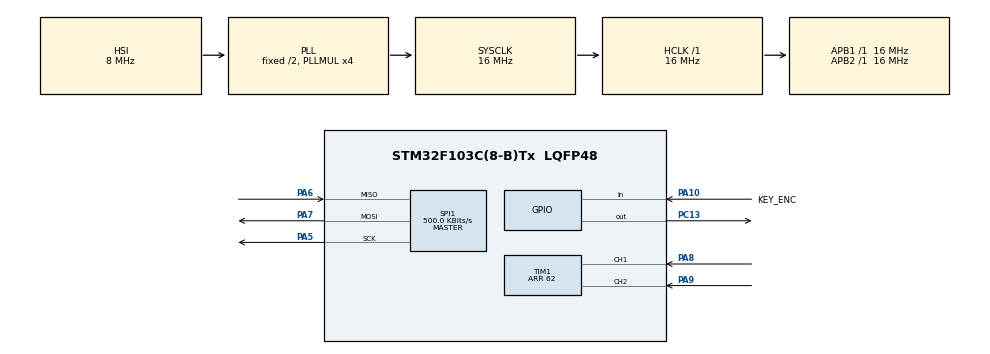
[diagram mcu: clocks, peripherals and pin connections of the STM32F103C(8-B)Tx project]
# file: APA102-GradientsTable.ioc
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Mcu.Family=STM32F1
Mcu.Name=STM32F103C(8-B)Tx
Mcu.Package=LQFP48
NVIC.PriorityGroup=NVIC_PRIORITYGROUP_4
PA10.GPIO_Label=KEY_ENC
PA10.GPIO_Mode=GPIO_MODE_INPUT
PA10.GPIO_PuPd=GPIO_NOPULL
PA10.Signal=GPIO_Input
PA13.Mode=Trace_Asynchronous_SW
PA13.Signal=SYS_JTMS-SWDIO
PA14.Mode=Trace_Asynchronous_SW
PA14.Signal=SYS_JTCK-SWCLK
PA5.Mode=Full_Duplex_Master
PA5.Signal=SPI1_SCK
PA6.Mode=Full_Duplex_Master
PA6.Signal=SPI1_MISO
PA7.Mode=Full_Duplex_Master
PA7.Signal=SPI1_MOSI
PA8.Signal=S_TIM1_CH1
PA9.Signal=S_TIM1_CH2
PB3.Mode=Trace_Asynchronous_SW
PB3.Signal=SYS_JTDO-TRACESWO
PC13-TAMPER-RTC.Signal=GPIO_Output
ProjectManager.HeapSize=0x200
ProjectManager.StackSize=0x400
ProjectManager.TargetToolchain=STM32CubeIDE
RCC.AHBFreq_Value=16000000
RCC.APB1Freq_Value=16000000
RCC.APB1TimFreq_Value=16000000
RCC.APB2Freq_Value=16000000
RCC.APB2TimFreq_Value=16000000
RCC.HCLKFreq_Value=16000000
RCC.PLLMUL=RCC_PLL_MUL4
RCC.RTCClockSelection=RCC_RTCCLKSOURCE_LSE
RCC.SYSCLKFreq_VALUE=16000000
RCC.SYSCLKSource=RCC_SYSCLKSOURCE_PLLCLK
RCC.USBFreq_Value=16000000
SH.S_TIM1_CH1.0=TIM1_CH1,Encoder_Interface
SH.S_TIM1_CH2.0=TIM1_CH2,Encoder_Interface
SPI1.BaudRatePrescaler=SPI_BAUDRATEPRESCALER_32
SPI1.CalculateBaudRate=500.0 KBits/s
SPI1.Direction=SPI_DIRECTION_2LINES
SPI1.Mode=SPI_MODE_MASTER
SPI1.VirtualType=VM_MASTER
TIM1.CounterMode=TIM_COUNTERMODE_CENTERALIGNED3
TIM1.EncoderMode=TIM_ENCODERMODE_TI1
TIM1.IC1Filter=15
TIM1.IC2Filter=15
TIM1.Period=62
TIM1.TIM_MasterOutputTrigger=TIM_TRGO_RESET
TIM1.TIM_MasterSlaveMode=TIM_MASTERSLAVEMODE_DISABLE
board=custom

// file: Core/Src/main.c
/* USER CODE BEGIN Header */
/**
 ******************************************************************************
 * @file           : main.c
 * @brief          : Main program body
 ******************************************************************************
 * @attention
 *
 * <h2><center>&copy; Copyright (c) 2020 STMicroelectronics.
 * All rights reserved.</center></h2>
 *
 * This software component is licensed by ST under BSD 3-Clause license,
 * the "License"; You may not use this file except in compliance with the
 * License. You may obtain a copy of the License at:
 *                        opensource.org/licenses/BSD-3-Clause
 *
 ******************************************************************************
 */
/* USER CODE END Header */
#include "main.h"

/* USER CODE BEGIN Includes */
#include "DigiLed.h"
#include "perlin.h"
#include "stdio.h"
#include "string.h"

#include "gradients.h"
#include "colors.h"

/* USER CODE END Includes */

SPI_HandleTypeDef hspi1;

TIM_HandleTypeDef htim1;

/* USER CODE BEGIN PV */
uint8_t brightOver = FALSE;
char trans_str[64] = {0,};

/* USER CODE END PV */

void SystemClock_Config(void);
static void MX_GPIO_Init(void);
static void MX_SPI1_Init(void);
static void MX_TIM1_Init(void);

/* USER CODE BEGIN 0 */
int _write(int file, char *ptr, int len) {
	int i=0;
	for (i=0; i<len; i++)
		ITM_SendChar((*ptr++));
	return len;
}
/* USER CODE END 0 */

int main(void)
{
	/* USER CODE BEGIN 1 */

	uint32_t changeTimer, transitionTimer;
	float transitionValue = 0;

	uint8_t brightness = 0;
	float yPos = 0;
	uint8_t noise;
	float noise_f;

	uint8_t short_state = 0;
	uint8_t long_state = 0;
	uint32_t time_keyEnc = 0;
	/* USER CODE END 1 */

	/* MCU Configuration--------------------------------------------------------*/

	/* Reset of all peripherals, Initializes the Flash interface and the Systick. */
	HAL_Init();

	/* USER CODE BEGIN Init */
	gammaInit(1.8);

	/* USER CODE END Init */

	/* Configure the system clock */
	SystemClock_Config();

	/* Initialize all configured peripherals */
	MX_GPIO_Init();
	MX_SPI1_Init();
	MX_TIM1_Init();
	/* USER CODE BEGIN 2 */
	HAL_TIM_Encoder_Start(&htim1, TIM_CHANNEL_1);
	__HAL_TIM_SetCounter(&htim1,31); // TODO: Load from EEPROM
	/* APA102 */
	DigiLed_init(&hspi1);

	/* USER CODE END 2 */

	/* Infinite loop */
	/* USER CODE BEGIN WHILE */
	printf("Hi\n");
	HAL_Delay(500);

	while (1)
	{
		/**
		 * Encoder Handler
		 */
		if (brightness != TIM1->CNT/2) {
			brightness = TIM1->CNT/2;
			if (brightness >= 0x1f) {
				/* BLINK */
				DigiLed_setAllRGB(0xffffff);
				DigiLed_update(FALSE);
				HAL_Delay(20);
				brightness = 0x1f;
			}
			printf("Illumination: %d", brightness);
		}

		/* Button handler
		 * src: https://istarik.ru/blog/stm32/148.html */
		uint32_t ms = HAL_GetTick();
		uint8_t keyEnc_state = HAL_GPIO_ReadPin(KEY_ENC_GPIO_Port, KEY_ENC_Pin);
		if(keyEnc_state == 0 && !short_state && (ms - time_keyEnc) > 50) {
			short_state = 1;
			long_state = 0;
			time_keyEnc = ms;
		} else if(keyEnc_state == 0 && !long_state && (ms - time_keyEnc) > 1000) {
			long_state = 1;
			// действие на длинное нажатие
			DigiLed_setAllRGB(0xff0000); DigiLed_update(FALSE); HAL_Delay(200);
			DigiLed_setAllRGB(0x00ff00); DigiLed_update(FALSE); HAL_Delay(200);
			DigiLed_setAllRGB(0x0000ff); DigiLed_update(FALSE); HAL_Delay(200);
			DigiLed_setAllRGB(0x000000); DigiLed_update(FALSE); HAL_Delay(200);
		} else if(keyEnc_state == 1 && short_state && (ms - time_keyEnc) > 50) {
			short_state = 0;
			time_keyEnc = ms;

			if(!long_state) {
				// действие на короткое нажатие

				// Rainbow Transition Effect
				for(int8_t j = 0; j < 25; j++) {
					for(int16_t n = 0; n <= LED_FRAME_SIZE; n++) {
						uint8_t linear = (uint8_t)(((float)n/LED_FRAME_SIZE)*255);
						uint8_t nn = (n + j) % LED_FRAME_SIZE;
						DigiLed_setRGB(nn, gradientRGB(&loading, linear));
					}
					DigiLed_update(FALSE);
					HAL_Delay(10);
				}
				// Incrementing
				if (currentGradient<gradientsNum-1) currentGradient++;
				else currentGradient=0;
				nextGradient = currentGradient;
				changeTimer = ms;
			}
		}

		/**
		 * gradient changing
		 **/
		if ((ms-changeTimer) > 30000) {
			changeTimer = ms;
			transitionValue = 0;
			if (nextGradient<gradientsNum-1) nextGradient++;
			else nextGradient=0;
		}

		if (nextGradient != currentGradient && (ms-transitionTimer) > 10) {
			transitionTimer = ms;
			transitionValue += 0.01;
			if (transitionValue >= 1.0) {
				currentGradient = nextGradient;
			}
		}

		for(int16_t n = 0; n <= LED_FRAME_SIZE; n++) {
			noise_f = perlin2d( n, yPos, 0.1, 1);
			noise = (uint8_t)constrain((noise_f*300-50), 0, 255);

			if (nextGradient != currentGradient)
				DigiLed_setRGB(n,gradientTransition(
						&gradients[currentGradient],
						&gradients[nextGradient],
						noise, constrain(transitionValue, 0, 1)
				));
			else
				DigiLed_setRGB(n,gradientRGB(&gradients[currentGradient], noise));
		}

		yPos += .1;
		/* USER CODE END WHILE */

		/* USER CODE BEGIN 3 */
		DigiLed_setAllIllumination(brightness);
		DigiLed_update(FALSE);
	}
	/* USER CODE END 3 */
}

void SystemClock_Config(void)
{
	RCC_OscInitTypeDef RCC_OscInitStruct = {0};
	RCC_ClkInitTypeDef RCC_ClkInitStruct = {0};

	/** Initializes the RCC Oscillators according to the specified parameters
	 * in the RCC_OscInitTypeDef structure.
	 */
	RCC_OscInitStruct.OscillatorType = RCC_OSCILLATORTYPE_HSI;
	RCC_OscInitStruct.HSIState = RCC_HSI_ON;
	RCC_OscInitStruct.HSICalibrationValue = RCC_HSICALIBRATION_DEFAULT;
	RCC_OscInitStruct.PLL.PLLState = RCC_PLL_ON;
	RCC_OscInitStruct.PLL.PLLSource = RCC_PLLSOURCE_HSI_DIV2;
	RCC_OscInitStruct.PLL.PLLMUL = RCC_PLL_MUL4;
	if (HAL_RCC_OscConfig(&RCC_OscInitStruct) != HAL_OK)
	{
		Error_Handler();
	}
	/** Initializes the CPU, AHB and APB buses clocks
	 */
	RCC_ClkInitStruct.ClockType = RCC_CLOCKTYPE_HCLK|RCC_CLOCKTYPE_SYSCLK
			|RCC_CLOCKTYPE_PCLK1|RCC_CLOCKTYPE_PCLK2;
	RCC_ClkInitStruct.SYSCLKSource = RCC_SYSCLKSOURCE_PLLCLK;
	RCC_ClkInitStruct.AHBCLKDivider = RCC_SYSCLK_DIV1;
	RCC_ClkInitStruct.APB1CLKDivider = RCC_HCLK_DIV1;
	RCC_ClkInitStruct.APB2CLKDivider = RCC_HCLK_DIV1;

	if (HAL_RCC_ClockConfig(&RCC_ClkInitStruct, FLASH_LATENCY_0) != HAL_OK)
	{
		Error_Handler();
	}
}

static void MX_SPI1_Init(void)
{

	/* SPI1 parameter configuration*/
	hspi1.Instance = SPI1;
	hspi1.Init.Mode = SPI_MODE_MASTER;
	hspi1.Init.Direction = SPI_DIRECTION_2LINES;
	hspi1.Init.DataSize = SPI_DATASIZE_8BIT;
	hspi1.Init.CLKPolarity = SPI_POLARITY_LOW;
	hspi1.Init.CLKPhase = SPI_PHASE_1EDGE;
	hspi1.Init.NSS = SPI_NSS_SOFT;
	hspi1.Init.BaudRatePrescaler = SPI_BAUDRATEPRESCALER_32;
	hspi1.Init.FirstBit = SPI_FIRSTBIT_MSB;
	hspi1.Init.TIMode = SPI_TIMODE_DISABLE;
	hspi1.Init.CRCCalculation = SPI_CRCCALCULATION_DISABLE;
	hspi1.Init.CRCPolynomial = 10;
	if (HAL_SPI_Init(&hspi1) != HAL_OK)
	{
		Error_Handler();
	}

}

static void MX_TIM1_Init(void)
{

	TIM_Encoder_InitTypeDef sConfig = {0};
	TIM_MasterConfigTypeDef sMasterConfig = {0};

	htim1.Instance = TIM1;
	htim1.Init.Prescaler = 0;
	htim1.Init.CounterMode = TIM_COUNTERMODE_CENTERALIGNED3;
	htim1.Init.Period = 62;
	htim1.Init.ClockDivision = TIM_CLOCKDIVISION_DIV1;
	htim1.Init.RepetitionCounter = 0;
	htim1.Init.AutoReloadPreload = TIM_AUTORELOAD_PRELOAD_DISABLE;
	sConfig.EncoderMode = TIM_ENCODERMODE_TI1;
	sConfig.IC1Polarity = TIM_ICPOLARITY_RISING;
	sConfig.IC1Selection = TIM_ICSELECTION_DIRECTTI;
	sConfig.IC1Prescaler = TIM_ICPSC_DIV1;
	sConfig.IC1Filter = 15;
	sConfig.IC2Polarity = TIM_ICPOLARITY_RISING;
	sConfig.IC2Selection = TIM_ICSELECTION_DIRECTTI;
	sConfig.IC2Prescaler = TIM_ICPSC_DIV1;
	sConfig.IC2Filter = 15;
	if (HAL_TIM_Encoder_Init(&htim1, &sConfig) != HAL_OK)
	{
		Error_Handler();
	}
	sMasterConfig.MasterOutputTrigger = TIM_TRGO_RESET;
	sMasterConfig.MasterSlaveMode = TIM_MASTERSLAVEMODE_DISABLE;
	if (HAL_TIMEx_MasterConfigSynchronization(&htim1, &sMasterConfig) != HAL_OK)
	{
		Error_Handler();
	}

}

static void MX_GPIO_Init(void)
{
	GPIO_InitTypeDef GPIO_InitStruct = {0};

	/* GPIO Ports Clock Enable */
	__HAL_RCC_GPIOC_CLK_ENABLE();
	__HAL_RCC_GPIOA_CLK_ENABLE();
	__HAL_RCC_GPIOB_CLK_ENABLE();

	/*Configure GPIO pin Output Level */
	HAL_GPIO_WritePin(GPIOC, GPIO_PIN_13, GPIO_PIN_RESET);

	/*Configure GPIO pin : PC13 */
	GPIO_InitStruct.Pin = GPIO_PIN_13;
	GPIO_InitStruct.Mode = GPIO_MODE_OUTPUT_PP;
	GPIO_InitStruct.Pull = GPIO_NOPULL;
	GPIO_InitStruct.Speed = GPIO_SPEED_FREQ_LOW;
	HAL_GPIO_Init(GPIOC, &GPIO_InitStruct);

	/*Configure GPIO pin : KEY_ENC_Pin */
	GPIO_InitStruct.Pin = KEY_ENC_Pin;
	GPIO_InitStruct.Mode = GPIO_MODE_INPUT;
	GPIO_InitStruct.Pull = GPIO_NOPULL;
	HAL_GPIO_Init(KEY_ENC_GPIO_Port, &GPIO_InitStruct);

}

void Error_Handler(void)
{
}

/************************ (C) COPYRIGHT STMicroelectronics *****END OF FILE****/
